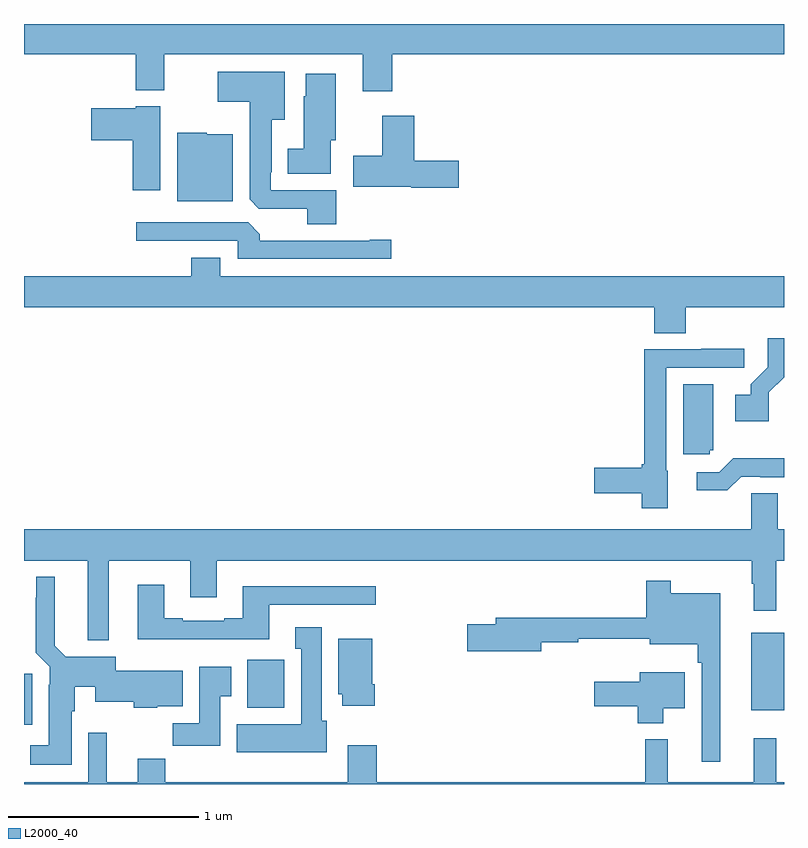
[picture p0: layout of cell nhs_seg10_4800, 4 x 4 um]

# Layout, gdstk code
import gdstk
lib = gdstk.Library(unit=1e-6, precision=1e-09)
def R(c, l, rs):  # rectangles x0, y0, x1, y1
    for r in rs: c.add(gdstk.rectangle(r[:2], r[2:], *l))
def P(c, l, *ps):  # polygons
    for p in ps: c.add(gdstk.Polygon(p, *l))
L2000_40 = (2000, 40)

nhs_seg10_4800 = lib.new_cell('nhs_seg10_4800')
R(nhs_seg10_4800, L2000_40, [(387,1272.813,387.043,1273.081), (390.827,1272.887,391,1273.297), (388.175,1272.902,388.371,1273.153)])
P(nhs_seg10_4800, L2000_40, [(388.937,1276.34),(391,1276.34),(391,1276.5),(387,1276.5),(387,1276.34),(387.587,1276.34),(387.587,1276.151),(387.739,1276.151),(387.739,1276.34),(388.784,1276.34),(388.784,1276.146),(388.937,1276.146)],
  [(388.643,1275.624),(388.299,1275.624),(388.299,1275.721),(388.303,1275.721),(388.303,1275.995),(388.372,1275.995),(388.372,1276.249),(388.02,1276.249),(388.02,1276.091),(388.187,1276.091),(388.187,1275.577),(388.236,1275.528),(388.49,1275.528),(388.49,1275.445),(388.643,1275.445)],
  [(388.615,1275.888),(388.642,1275.888),(388.642,1276.237),(388.484,1276.237),(388.484,1276.119),(388.472,1276.119),(388.472,1275.844),(388.388,1275.844),(388.388,1275.713),(388.615,1275.713)],
  [(387.718,1276.066),(387.588,1276.066),(387.588,1276.057),(387.354,1276.057),(387.354,1275.887),(387.572,1275.887),(387.572,1275.624),(387.718,1275.624)],
  [(389.287,1275.779),(389.054,1275.779),(389.054,1276.018),(388.886,1276.018),(388.886,1275.807),(388.734,1275.807),(388.734,1275.644),(389.037,1275.644),(389.037,1275.637),(389.287,1275.637)],
  [(388.099,1275.919),(387.963,1275.919),(387.963,1275.928),(387.806,1275.928),(387.806,1275.566),(388.099,1275.566)],
  [(388.933,1275.365),(388.82,1275.365),(388.82,1275.36),(388.241,1275.36),(388.241,1275.394),(388.179,1275.456),(387.591,1275.456),(387.591,1275.36),(388.125,1275.36),(388.125,1275.264),(388.933,1275.264)],
  [(390.482,1275.008),(391,1275.008),(391,1275.172),(388.033,1275.172),(388.033,1275.271),(387.881,1275.271),(387.881,1275.172),(387,1275.172),(387,1275.008),(390.317,1275.008),(390.317,1274.872),(390.482,1274.872)],
  [(390.921,1274.563),(391,1274.642),(391,1274.845),(390.915,1274.845),(390.915,1274.693),(390.824,1274.603),(390.824,1274.548),(390.744,1274.548),(390.744,1274.408),(390.921,1274.408)],
  [(390.388,1274.148),(390.381,1274.148),(390.381,1274.691),(390.79,1274.691),(390.79,1274.79),(390.565,1274.79),(390.565,1274.787),(390.265,1274.787),(390.265,1274.183),(390.252,1274.183),(390.252,1274.165),(390,1274.165),(390,1274.03),(390.252,1274.03),(390.252,1273.952),(390.388,1273.952)],
  [(390.609,1274.256),(390.628,1274.256),(390.628,1274.605),(390.47,1274.605),(390.47,1274.235),(390.609,1274.235)],
  [(390.774,1274.118),(390.874,1274.118),(390.874,1274.115),(391,1274.115),(391,1274.215),(390.733,1274.215),(390.66,1274.142),(390.54,1274.142),(390.54,1274.045),(390.701,1274.045)],
  [(387.445,1273.676),(387.875,1273.676),(387.875,1273.482),(388.015,1273.482),(388.015,1273.676),(390.831,1273.676),(390.831,1273.553),(390.842,1273.553),(390.842,1273.413),(390.959,1273.413),(390.959,1273.676),(391,1273.676),(391,1273.84),(390.967,1273.84),(390.967,1274.03),(390.828,1274.03),(390.828,1273.84),(387,1273.84),(387,1273.676),(387.335,1273.676),(387.335,1273.256),(387.445,1273.256)],
  [(387.25,1272.882),(387.268,1272.882),(387.268,1273.013),(387.374,1273.013),(387.374,1272.932),(387.577,1272.932),(387.577,1272.902),(387.702,1272.902),(387.702,1272.908),(387.835,1272.908),(387.835,1273.096),(387.484,1273.096),(387.484,1273.171),(387.219,1273.171),(387.163,1273.228),(387.163,1273.591),(387.065,1273.591),(387.065,1273.481),(387.061,1273.481),(387.061,1273.19),(387.135,1273.116),(387.135,1273.022),(387.131,1273.022),(387.131,1272.703),(387.033,1272.703),(387.033,1272.602),(387.25,1272.602)],
  [(390.664,1273.504),(390.403,1273.504),(390.403,1273.57),(390.274,1273.57),(390.274,1273.375),(389.483,1273.375),(389.483,1273.341),(389.334,1273.341),(389.334,1273.199),(389.722,1273.199),(389.722,1273.246),(389.918,1273.246),(389.918,1273.264),(390.293,1273.264),(390.293,1273.235),(390.547,1273.235),(390.547,1273.139),(390.567,1273.139),(390.567,1272.618),(390.664,1272.618)],
  [(388.291,1273.443),(388.852,1273.443),(388.852,1273.54),(388.151,1273.54),(388.151,1273.372),(388.055,1273.372),(388.055,1273.359),(387.835,1273.359),(387.835,1273.372),(387.739,1273.372),(387.739,1273.549),(387.599,1273.549),(387.599,1273.262),(388.291,1273.262)],
  [(388.594,1272.834),(388.567,1272.834),(388.567,1273.324),(388.427,1273.324),(388.427,1273.211),(388.46,1273.211),(388.46,1272.814),(388.121,1272.814),(388.121,1272.668),(388.594,1272.668)],
  [(388.847,1273.024),(388.834,1273.024),(388.834,1273.264),(388.655,1273.264),(388.655,1272.972),(388.676,1272.972),(388.676,1272.912),(388.847,1272.912)],
  [(388.033,1272.961),(388.09,1272.961),(388.09,1273.117),(387.923,1273.117),(387.923,1272.82),(387.784,1272.82),(387.784,1272.702),(388.033,1272.702)],
  [(390.364,1272.899),(390.478,1272.899),(390.478,1273.087),(390.242,1273.087),(390.242,1273.039),(390,1273.039),(390,1272.91),(390.23,1272.91),(390.23,1272.821),(390.364,1272.821)],
  [(388.856,1272.703),(388.703,1272.703),(388.703,1272.508),(387.743,1272.508),(387.743,1272.632),(387.599,1272.632),(387.599,1272.508),(387.436,1272.508),(387.436,1272.769),(387.339,1272.769),(387.339,1272.508),(387,1272.508),(387,1272.5),(391,1272.5),(391,1272.508),(390.959,1272.508),(390.959,1272.742),(390.842,1272.742),(390.842,1272.508),(390.389,1272.508),(390.389,1272.736),(390.271,1272.736),(390.271,1272.508),(388.856,1272.508)])

lib.write_gds('nhs_seg10_4800.gds')
